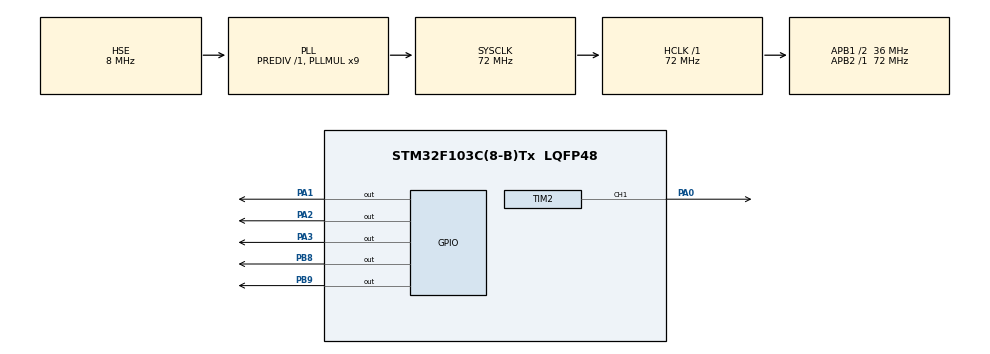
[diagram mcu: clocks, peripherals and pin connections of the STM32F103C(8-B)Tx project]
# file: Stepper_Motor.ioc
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Mcu.Family=STM32F1
Mcu.Name=STM32F103C(8-B)Tx
Mcu.Package=LQFP48
NVIC.PriorityGroup=NVIC_PRIORITYGROUP_4
PA0-WKUP.Signal=S_TIM2_CH1_ETR
PA1.Signal=GPIO_Output
PA13.Mode=Serial_Wire
PA13.Signal=SYS_JTMS-SWDIO
PA14.Mode=Serial_Wire
PA14.Signal=SYS_JTCK-SWCLK
PA2.Signal=GPIO_Output
PA3.Signal=GPIO_Output
PB8.Signal=GPIO_Output
PB9.Signal=GPIO_Output
PD0-OSC_IN.Mode=HSE-External-Oscillator
PD0-OSC_IN.Signal=RCC_OSC_IN
PD1-OSC_OUT.Mode=HSE-External-Oscillator
PD1-OSC_OUT.Signal=RCC_OSC_OUT
ProjectManager.HeapSize=0x200
ProjectManager.StackSize=0x400
ProjectManager.TargetToolchain=MDK-ARM V5.32
RCC.AHBFreq_Value=72000000
RCC.APB1CLKDivider=RCC_HCLK_DIV2
RCC.APB1Freq_Value=36000000
RCC.APB1TimFreq_Value=72000000
RCC.APB2Freq_Value=72000000
RCC.APB2TimFreq_Value=72000000
RCC.HCLKFreq_Value=72000000
RCC.PLLMUL=RCC_PLL_MUL9
RCC.PLLSourceVirtual=RCC_PLLSOURCE_HSE
RCC.SYSCLKFreq_VALUE=72000000
RCC.SYSCLKSource=RCC_SYSCLKSOURCE_PLLCLK
RCC.USBFreq_Value=72000000
SH.S_TIM2_CH1_ETR.0=TIM2_CH1,PWM Generation1 CH1
TIM2.AutoReloadPreload=TIM_AUTORELOAD_PRELOAD_ENABLE
TIM2.Channel-PWM\ Generation1\ CH1=TIM_CHANNEL_1
TIM2.Period=100-1
TIM2.Prescaler=720-1
TIM2.Pulse-PWM\ Generation1\ CH1=50
VP_TIM2_VS_ClockSourceINT.Mode=Internal
board=custom

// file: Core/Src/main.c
/* USER CODE BEGIN Header */
/**
  ******************************************************************************
  * @file           : main.c
  * @brief          : Main program body
  ******************************************************************************
  * @attention
  *
  * Copyright (c) 2025 STMicroelectronics.
  * All rights reserved.
  *
  * This software is licensed under terms that can be found in the LICENSE file
  * in the root directory of this software component.
  * If no LICENSE file comes with this software, it is provided AS-IS.
  *
  ******************************************************************************
  */
/* USER CODE END Header */
#include "main.h"

/* USER CODE BEGIN Includes */
#include "OLED.h"
#include "Delay.h"
/* USER CODE END Includes */

TIM_HandleTypeDef htim2;

void SystemClock_Config(void);
static void MX_GPIO_Init(void);
static void MX_TIM2_Init(void);
/* USER CODE BEGIN PFP */
void Set_PWM_Frequency(uint32_t freq_hz);
/* USER CODE END PFP */

int main(void)
{

  /* MCU Configuration--------------------------------------------------------*/

  /* Reset of all peripherals, Initializes the Flash interface and the Systick. */
  HAL_Init();

  /* Configure the system clock */
  SystemClock_Config();

  /* Initialize all configured peripherals */
  MX_GPIO_Init();
  MX_TIM2_Init();
  /* USER CODE BEGIN 2 */
  DWT_Init();
  OLED_Init();
  OLED_Clear();
  OLED_ShowString(0,0,"Hellow!",OLED_8X16);
  OLED_Update();

  HAL_TIM_Base_Init(&htim2);
  HAL_TIM_PWM_Start(&htim2,TIM_CHANNEL_1);
  /* USER CODE END 2 */

  /* Infinite loop */
  while (1)
  {

    /* USER CODE BEGIN 3 */
    uint32_t speed = uwTick/10;
    speed = (speed>100)?speed:100;
    speed = (speed<5000)?speed:5000;
    OLED_ShowNum(0,1*16,speed,4,OLED_8X16);
    Set_PWM_Frequency(speed);
    OLED_Update();
    Delay_ms(100);
  }
  /* USER CODE END 3 */
}

void SystemClock_Config(void)
{
  RCC_OscInitTypeDef RCC_OscInitStruct = {0};
  RCC_ClkInitTypeDef RCC_ClkInitStruct = {0};

  /** Initializes the RCC Oscillators according to the specified parameters
  * in the RCC_OscInitTypeDef structure.
  */
  RCC_OscInitStruct.OscillatorType = RCC_OSCILLATORTYPE_HSE;
  RCC_OscInitStruct.HSEState = RCC_HSE_ON;
  RCC_OscInitStruct.HSEPredivValue = RCC_HSE_PREDIV_DIV1;
  RCC_OscInitStruct.HSIState = RCC_HSI_ON;
  RCC_OscInitStruct.PLL.PLLState = RCC_PLL_ON;
  RCC_OscInitStruct.PLL.PLLSource = RCC_PLLSOURCE_HSE;
  RCC_OscInitStruct.PLL.PLLMUL = RCC_PLL_MUL9;
  if (HAL_RCC_OscConfig(&RCC_OscInitStruct) != HAL_OK)
  {
    Error_Handler();
  }

  /** Initializes the CPU, AHB and APB buses clocks
  */
  RCC_ClkInitStruct.ClockType = RCC_CLOCKTYPE_HCLK|RCC_CLOCKTYPE_SYSCLK
                              |RCC_CLOCKTYPE_PCLK1|RCC_CLOCKTYPE_PCLK2;
  RCC_ClkInitStruct.SYSCLKSource = RCC_SYSCLKSOURCE_PLLCLK;
  RCC_ClkInitStruct.AHBCLKDivider = RCC_SYSCLK_DIV1;
  RCC_ClkInitStruct.APB1CLKDivider = RCC_HCLK_DIV2;
  RCC_ClkInitStruct.APB2CLKDivider = RCC_HCLK_DIV1;

  if (HAL_RCC_ClockConfig(&RCC_ClkInitStruct, FLASH_LATENCY_2) != HAL_OK)
  {
    Error_Handler();
  }
}

static void MX_TIM2_Init(void)
{

  TIM_ClockConfigTypeDef sClockSourceConfig = {0};
  TIM_MasterConfigTypeDef sMasterConfig = {0};
  TIM_OC_InitTypeDef sConfigOC = {0};

  htim2.Instance = TIM2;
  htim2.Init.Prescaler = 720-1;
  htim2.Init.CounterMode = TIM_COUNTERMODE_UP;
  htim2.Init.Period = 100-1;
  htim2.Init.ClockDivision = TIM_CLOCKDIVISION_DIV1;
  htim2.Init.AutoReloadPreload = TIM_AUTORELOAD_PRELOAD_ENABLE;
  if (HAL_TIM_Base_Init(&htim2) != HAL_OK)
  {
    Error_Handler();
  }
  sClockSourceConfig.ClockSource = TIM_CLOCKSOURCE_INTERNAL;
  if (HAL_TIM_ConfigClockSource(&htim2, &sClockSourceConfig) != HAL_OK)
  {
    Error_Handler();
  }
  if (HAL_TIM_PWM_Init(&htim2) != HAL_OK)
  {
    Error_Handler();
  }
  sMasterConfig.MasterOutputTrigger = TIM_TRGO_RESET;
  sMasterConfig.MasterSlaveMode = TIM_MASTERSLAVEMODE_DISABLE;
  if (HAL_TIMEx_MasterConfigSynchronization(&htim2, &sMasterConfig) != HAL_OK)
  {
    Error_Handler();
  }
  sConfigOC.OCMode = TIM_OCMODE_PWM1;
  sConfigOC.Pulse = 50;
  sConfigOC.OCPolarity = TIM_OCPOLARITY_HIGH;
  sConfigOC.OCFastMode = TIM_OCFAST_DISABLE;
  if (HAL_TIM_PWM_ConfigChannel(&htim2, &sConfigOC, TIM_CHANNEL_1) != HAL_OK)
  {
    Error_Handler();
  }
  HAL_TIM_MspPostInit(&htim2);

}

static void MX_GPIO_Init(void)
{
  GPIO_InitTypeDef GPIO_InitStruct = {0};

  /* GPIO Ports Clock Enable */
  __HAL_RCC_GPIOD_CLK_ENABLE();
  __HAL_RCC_GPIOA_CLK_ENABLE();
  __HAL_RCC_GPIOB_CLK_ENABLE();

  /*Configure GPIO pin Output Level */
  HAL_GPIO_WritePin(GPIOA, GPIO_PIN_1|GPIO_PIN_2|GPIO_PIN_3, GPIO_PIN_RESET);

  /*Configure GPIO pin Output Level */
  HAL_GPIO_WritePin(GPIOB, GPIO_PIN_8|GPIO_PIN_9, GPIO_PIN_RESET);

  /*Configure GPIO pins : PA1 PA2 PA3 */
  GPIO_InitStruct.Pin = GPIO_PIN_1|GPIO_PIN_2|GPIO_PIN_3;
  GPIO_InitStruct.Mode = GPIO_MODE_OUTPUT_PP;
  GPIO_InitStruct.Pull = GPIO_NOPULL;
  GPIO_InitStruct.Speed = GPIO_SPEED_FREQ_LOW;
  HAL_GPIO_Init(GPIOA, &GPIO_InitStruct);

  /*Configure GPIO pins : PB8 PB9 */
  GPIO_InitStruct.Pin = GPIO_PIN_8|GPIO_PIN_9;
  GPIO_InitStruct.Mode = GPIO_MODE_OUTPUT_PP;
  GPIO_InitStruct.Pull = GPIO_NOPULL;
  GPIO_InitStruct.Speed = GPIO_SPEED_FREQ_LOW;
  HAL_GPIO_Init(GPIOB, &GPIO_InitStruct);

}

/* USER CODE BEGIN 4 */
void Set_PWM_Frequency(uint32_t freq_hz) {
  uint32_t timer_clock = 72000000; // 72MHz
  uint32_t arr = (timer_clock / (htim2.Init.Prescaler + 1) / freq_hz) - 1;
  __HAL_TIM_SET_AUTORELOAD(&htim2, arr); // 修改ARR
  __HAL_TIM_SET_COMPARE(&htim2, TIM_CHANNEL_1, arr / 2); // 占空比50%
}

/* USER CODE END 4 */

void Error_Handler(void)
{
  __disable_irq();
  while (1)
  {
  }
}
